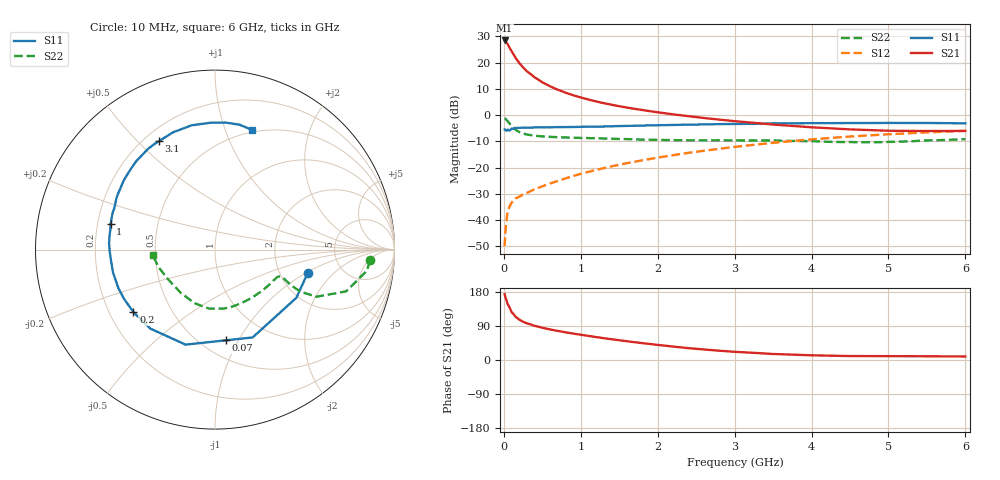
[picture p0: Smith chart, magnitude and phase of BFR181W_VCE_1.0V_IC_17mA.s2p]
! Infineon Technologies  Discrete & RF Semiconductors
! BFR181W
! VCE =  1.0 V,  IC =  17 mA
! Common Emitter S-Parameters:  Jan 2017
# GHz  S  MA  R  50
!  f  S11  S21  S12  S22
! GHz  MAG  ANG  MAG  ANG  MAG  ANG  MAG  ANG
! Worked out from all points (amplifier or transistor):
!   77 points, 10 MHz to 6 GHz, reference 50 ohm
!   highest |S21| = 28.4 dB at 10 MHz (marker M1)
!   |S21| within 3 dB of that: start of sweep to 79.02 MHz
!   unconditionally stable (mu >= 1): start of sweep to 11.25 MHz; 261.8 MHz to end of sweep
!   at 130 MHz: K = 0.64, MSG = 27.6 dB, |S12| = -32.4 dB
!   at 2.2 GHz: K = 1.33, MAG = 4.3 dB, |S12| = -15.3 dB
!   at 6 GHz: K = 1.21, MAG = -2.8 dB, |S12| = -6.0 dB
!   S11 on the Smith chart (normalised r, x): 10 MHz: 2.84, -1.05; 70 MHz: 0.65, -0.89; 200 MHz: 0.30, -0.31; 1 GHz: 0.25, +0.11; 3.1 GHz: 0.26, +0.58; 6 GHz: 0.47, +1.24
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0.01  0.5324 -14.4  26.38 173.6  0.0032 80.0  0.8653 -4.0
0.02  0.5269 -30.6  25.78 165.8  0.0058 80.7  0.8547 -7.9
0.05  0.5324 -66.8  22.41 147.4  0.0149 65.3  0.7664 -17.7
0.07  0.509 -83.2  19.76 140.6  0.0175 59.7  0.7071 -20.3
0.1  0.5543 -107.2  16.52 126.5  0.0215 53.8  0.6215 -25.0
0.15  0.5691 -129.4  12.48 114.6  0.0258 48.5  0.5291 -26.2
0.2  0.5723 -142.6  9.851 106.6  0.0279 48.0  0.4772 -25.3
0.25  0.5768 -151.8  8.101 100.9  0.0311 49.8  0.4474 -24.3
0.3  0.5795 -158.4  6.845 96.6  0.033 51.0  0.4271 -23.3
0.4  0.5824 -167.6  5.238 90.1  0.0388 54.9  0.4054 -22.4
0.5  0.5827 -174.2  4.22 85.1  0.0441 59.0  0.393 -22.3
0.6  0.5869 -179.2  3.542 80.7  0.0498 61.5  0.3857 -22.8
0.7  0.5911 176.5  3.05 76.9  0.0557 64.1  0.3802 -23.7
0.8  0.5925 172.6  2.683 73.1  0.0623 66.4  0.3759 -24.9
1  0.5987 166.2  2.168 66.6  0.0763 68.3  0.3676 -28.1
1.1  0.6022 163.1  1.979 63.6  0.0832 69.6  0.3652 -29.8
1.5  0.6191 152.5  1.478 52.2  0.1135 71.1  0.3514 -38.3
2.1  0.6453 138.2  1.082 37.7  0.1637 69.8  0.3359 -54.7
3.1  0.6799 117.5  0.745 20.5  0.2577 62.5  0.3301 -84.6
4.1  0.704 98.9  0.576 12.0  0.3541 51.7  0.3149 -114.3
5.1  0.7094 84.2  0.503 10.1  0.4396 39.6  0.3111 -150.4
6  0.6983 73.0  0.5 9.3  0.5028 28.8  0.3488 -175.4
